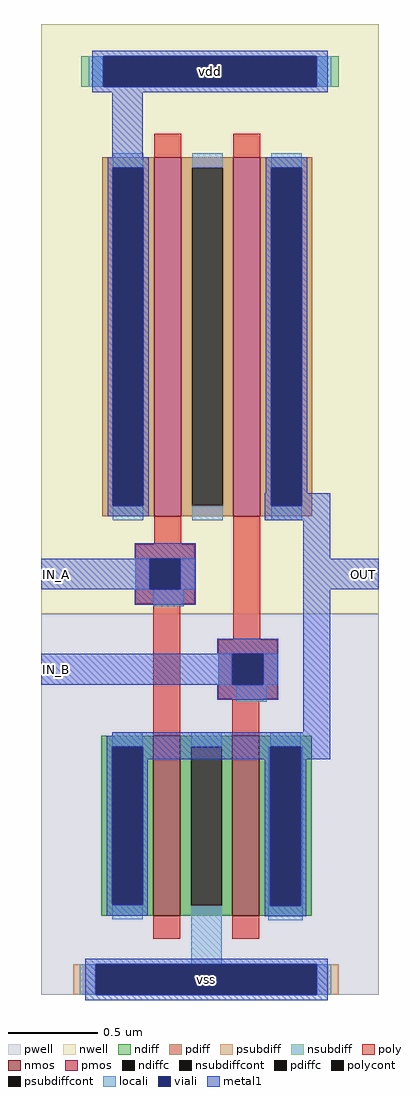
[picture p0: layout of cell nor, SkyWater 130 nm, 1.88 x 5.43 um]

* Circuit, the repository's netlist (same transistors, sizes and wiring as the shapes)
* SPICE3 file created from nor.ext - technology: sky130A

.subckt nor IN_A OUT vdd vss IN_B
X0 sky130_fd_pr__pfet_01v8_7P3MHC_1/a_15_n164# IN_B OUT vdd sky130_fd_pr__pfet_01v8 ad=0.58 pd=4.58 as=0.58 ps=4.58 w=2 l=0.15
X1 vdd IN_A sky130_fd_pr__pfet_01v8_7P3MHC_1/a_15_n164# vdd sky130_fd_pr__pfet_01v8 ad=0.58 pd=4.58 as=0.580025 ps=4.585 w=2 l=0.15
X2 OUT IN_B vss vss sky130_fd_pr__nfet_01v8 ad=0.29 pd=2.58 as=0.145 ps=1.29 w=1 l=0.15
X3 vss IN_A OUT vss sky130_fd_pr__nfet_01v8 ad=0.145 pd=1.29 as=0.29 ps=2.58 w=1 l=0.15
.ends

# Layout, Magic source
magic
tech sky130A
magscale 1 2
<< nwell >>
rect -1199 964 -823 1620
<< pwell >>
rect -1199 540 -823 964
<< nmos >>
rect -1074 628 -1044 828
rect -986 628 -956 828
<< ndiff >>
rect -1132 816 -1074 828
rect -1132 640 -1120 816
rect -1086 640 -1074 816
rect -1132 628 -1074 640
rect -1044 816 -986 828
rect -1044 639 -1032 816
rect -998 639 -986 816
rect -1044 628 -986 639
rect -956 816 -898 828
rect -956 639 -944 816
rect -910 639 -898 816
rect -956 628 -898 639
<< ndiffc >>
rect -1120 640 -1086 816
rect -1032 639 -998 816
rect -944 639 -910 816
<< psubdiff >>
rect -1163 540 -1138 574
rect -892 540 -868 574
<< nsubdiff >>
rect -1154 1550 -1130 1584
rect -892 1550 -868 1584
<< psubdiffcont >>
rect -1138 540 -892 574
<< nsubdiffcont >>
rect -1130 1550 -892 1584
<< poly >>
rect -1073 1048 -1044 1072
rect -1073 1041 -1043 1048
rect -1094 1025 -1028 1041
rect -1094 991 -1078 1025
rect -1044 991 -1028 1025
rect -1094 975 -1028 991
rect -1074 828 -1044 975
rect -985 935 -955 1072
rect -1002 919 -936 935
rect -1002 885 -986 919
rect -952 885 -936 919
rect -1002 869 -936 885
rect -986 866 -952 869
rect -986 828 -956 866
rect -1074 602 -1044 628
rect -986 602 -956 628
<< polycont >>
rect -1078 991 -1044 1025
rect -986 885 -952 919
<< locali >>
rect -1146 1550 -1130 1584
rect -892 1550 -876 1584
rect -1094 991 -1078 1025
rect -1044 991 -1028 1025
rect -1074 972 -1040 991
rect -1002 885 -986 919
rect -952 885 -936 919
rect -982 866 -948 885
rect -1120 816 -1086 832
rect -1120 624 -1086 640
rect -1032 816 -998 832
rect -944 816 -910 832
rect -1032 574 -998 639
rect -946 639 -944 816
rect -910 639 -908 816
rect -946 623 -908 639
rect -1156 540 -1138 574
rect -892 540 -876 574
<< viali >>
rect -1130 1550 -892 1584
rect -1119 1084 -1085 1460
rect -943 1084 -909 1460
rect -1078 991 -1044 1025
rect -986 885 -952 919
rect -1120 640 -1086 816
rect -944 639 -910 816
rect -1138 540 -892 574
<< metal1 >>
rect -1142 1584 -880 1590
rect -1142 1550 -1130 1584
rect -892 1550 -880 1584
rect -1142 1544 -880 1550
rect -1120 1472 -1086 1544
rect -1125 1460 -1079 1472
rect -1125 1084 -1119 1460
rect -1085 1084 -1079 1460
rect -949 1460 -903 1472
rect -949 1098 -943 1460
rect -1125 1072 -1079 1084
rect -950 1084 -943 1098
rect -909 1098 -903 1460
rect -909 1084 -877 1098
rect -950 1068 -877 1084
rect -1095 1025 -1027 1042
rect -1199 991 -1078 1025
rect -1044 991 -1027 1025
rect -1095 974 -1027 991
rect -907 1025 -877 1068
rect -907 991 -823 1025
rect -1003 919 -935 936
rect -1199 885 -986 919
rect -952 885 -935 919
rect -1003 868 -935 885
rect -907 832 -877 991
rect -1120 828 -877 832
rect -1126 816 -877 828
rect -1126 640 -1120 816
rect -1086 802 -944 816
rect -1086 640 -1080 802
rect -1126 628 -1080 640
rect -950 639 -944 802
rect -910 802 -877 816
rect -910 639 -904 802
rect -950 627 -904 639
rect -1150 574 -880 580
rect -1150 540 -1138 574
rect -892 540 -880 574
rect -1150 534 -880 540
use sky130_fd_pr__pfet_01v8_7P3MHC  sky130_fd_pr__pfet_01v8_7P3MHC_1
transform -1 0 -971 0 1 1236
box -141 -200 138 276
use sky130_fd_pr__pfet_01v8_7P3MHC  sky130_fd_pr__pfet_01v8_7P3MHC_2
transform -1 0 -1059 0 1 1236
box -141 -200 138 276
<< labels >>
flabel metal1 -1199 991 -1165 1025 3 FreeSans 160 0 0 0 IN_A
port 0 e default input
flabel metal1 -1199 885 -1165 919 3 FreeSans 160 0 0 0 IN_B
port 1 e default input
flabel metal1 -857 991 -823 1025 7 FreeSans 160 0 0 0 OUT
port 2 w default output
flabel metal1 -1130 1550 -892 1584 0 FreeSans 320 0 0 0 vdd
port 3 nsew default bidirectional
flabel metal1 -1138 540 -892 574 0 FreeSans 320 0 0 0 vss
port 4 nsew default bidirectional
<< end >>

# cell sky130_fd_pr__pfet_01v8_7P3MHC: kit device sky130_fd_pr__pfet_01v8, w 2.0 l 0.15 m 1 nf 1 diffcov 100 polycov 100 guard 1 glc 0 grc 0 gtc 1 gbc 0 tbcov 100 rlcov 100 topc 0 botc 1 poverlap 0 doverlap 1 lmin 0.15 wmin 0.42 compatible {sky130_fd_pr__pfet_01v8 sky130_fd_pr__pfet_01v8_lvt sky130_fd_pr__pfet_01v8_hvt sky130_fd_pr__pfet_g5v0d10v5} full_metal 0 viasrc 100 viadrn 100 viagate 100 viagb 0 viagr 0 viagl 0 viagt 0
